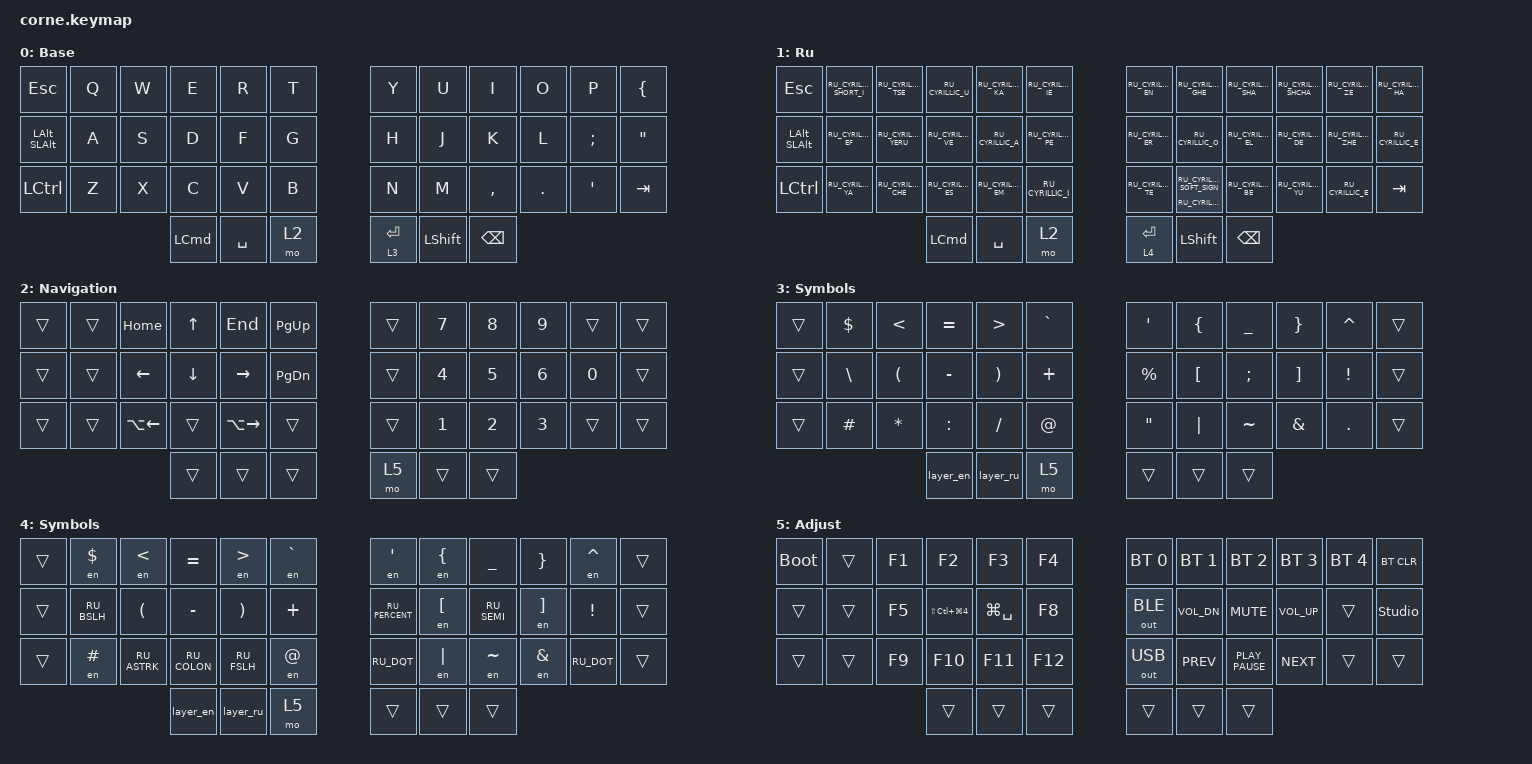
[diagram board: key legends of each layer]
#include "keys_ru.h"
#include <behaviors.dtsi>
#include <dt-bindings/zmk/bt.h>
#include <dt-bindings/zmk/keys.h>
#include <dt-bindings/zmk/outputs.h>

/ {
    combos {
        compatible = "zmk,combos";

        cmben {
            bindings = <&layer_en>;
            key-positions = <15 16>;
            layers = <1>;
        };

        cmbru {
            bindings = <&layer_ru>;
            key-positions = <15 16>;
            layers = <0>;
        };

        question_en {
            bindings = <&kp QUESTION>;
            key-positions = <6 7>;
            layers = <0>;
        };

        question_ru {
            bindings = <&kp RU_QUESTION>;
            key-positions = <6 7>;
            layers = <1>;
        };

        dot_en {
            bindings = <&kp DOT>;
            key-positions = <18 19>;
            layers = <0>;
        };

        DOT_RU {
            bindings = <&kp RU_DOT>;
            key-positions = <18 19>;
            layers = <1>;
        };

        comma_en {
            bindings = <&kp COMMA>;
            key-positions = <17 16>;
            layers = <0>;
        };

        comma_ru {
            bindings = <&kp RU_COMMA>;
            key-positions = <17 16>;
            layers = <1>;
        };
    };

    macros {
        to_ru: to_ru {
            compatible = "zmk,behavior-macro";
            #binding-cells = <0>;
            bindings = <&kp LA(LS(F12))>;
            label = "TO_RU";
            wait-ms = <0>;
            tap-ms = <30>;
        };

        to_en: to_en {
            compatible = "zmk,behavior-macro";
            #binding-cells = <0>;
            bindings = <&kp LA(LS(F11))>;
            label = "TO_EN";
            wait-ms = <0>;
            tap-ms = <30>;
        };

        layer_en: layer_en {
            compatible = "zmk,behavior-macro";
            #binding-cells = <0>;
            bindings = <&to 0 &to_en>;
            label = "LAYER_EN";
            wait-ms = <0>;
            tap-ms = <30>;
        };

        layer_ru: layer_ru {
            compatible = "zmk,behavior-macro";
            #binding-cells = <0>;
            bindings = <&to 1 &to_ru>;
            label = "LAYER_RU";
            tap-ms = <30>;
            wait-ms = <0>;
        };

        en: en {
            compatible = "zmk,behavior-macro-one-param";
            #binding-cells = <1>;
            bindings =
                <&to_en>,
                <&macro_press>,
                <&macro_param_1to1 &kp MACRO_PLACEHOLDER>,
                <&macro_pause_for_release>,
                <&macro_release>,
                <&macro_param_1to1 &kp MACRO_PLACEHOLDER>,
                <&macro_tap>,
                <&to_ru>;

            label = "EN";
            wait-ms = <0>;
            tap-ms = <30>;
        };

        soft_mt: soft_mod_tap {
            compatible = "zmk,behavior-hold-tap";
            #binding-cells = <2>;
            flavor = "tap-preferred";
            tapping-term-ms = <200>;
            bindings = <&kp>, <&kp>;
            display-name = "Soft MT";
        };
    };

    behaviors {
        LAlt_SLAlt: LAlt_SLAlt {
            compatible = "zmk,behavior-tap-dance";
            label = "LALT_SLALT";
            #binding-cells = <0>;
            bindings = <&kp LALT>, <&kp LS(LALT)>;
        };
    };

    keymap {
        compatible = "zmk,keymap";

        en {
            bindings = <
&kp ESC      &kp Q  &kp W  &kp E             &kp R      &kp T    &kp Y        &kp U       &kp I          &kp O    &kp P     &kp LEFT_BRACE
&LAlt_SLAlt  &kp A  &kp S  &kp D             &kp F      &kp G    &kp H        &kp J       &kp K          &kp L    &kp SEMI  &kp DQT
&kp LCTRL    &kp Z  &kp X  &kp C             &kp V      &kp B    &kp N        &kp M       &kp COMMA      &kp DOT  &kp SQT   &kp TAB
                           &kp LEFT_COMMAND  &kp SPACE  &mo 2    &lt 3 ENTER  &kp LSHIFT  &kp BACKSPACE
            >;

            display-name = "Base";
        };

        ru {
            display-name = "Ru";
            bindings = <
&kp ESC      &kp RU_CYRILLIC_SHORT_I  &kp RU_CYRILLIC_TSE   &kp RU_CYRILLIC_U   &kp RU_CYRILLIC_KA  &kp RU_CYRILLIC_IE    &kp RU_CYRILLIC_EN  &kp RU_CYRILLIC_GHE                                   &kp RU_CYRILLIC_SHA  &kp RU_CYRILLIC_SHCHA  &kp RU_CYRILLIC_ZE   &kp RU_CYRILLIC_HA
&LAlt_SLAlt  &kp RU_CYRILLIC_EF       &kp RU_CYRILLIC_YERU  &kp RU_CYRILLIC_VE  &kp RU_CYRILLIC_A   &kp RU_CYRILLIC_PE    &kp RU_CYRILLIC_ER  &kp RU_CYRILLIC_O                                     &kp RU_CYRILLIC_EL   &kp RU_CYRILLIC_DE     &kp RU_CYRILLIC_ZHE  &kp RU_CYRILLIC_E
&kp LCTRL    &kp RU_CYRILLIC_YA       &kp RU_CYRILLIC_CHE   &kp RU_CYRILLIC_ES  &kp RU_CYRILLIC_EM  &kp RU_CYRILLIC_I     &kp RU_CYRILLIC_TE  &soft_mt RU_CYRILLIC_HARD_SIGN RU_CYRILLIC_SOFT_SIGN  &kp RU_CYRILLIC_BE   &kp RU_CYRILLIC_YU     &kp RU_CYRILLIC_E    &kp TAB
                                                            &kp LEFT_COMMAND    &kp SPACE           &mo 2                 &lt 4 ENTER         &kp LSHIFT                                            &kp BACKSPACE
            >;
        };

        nav {
            bindings = <
&trans  &trans  &kp HOME      &kp UP    &kp END        &kp PG_UP    &trans  &kp N7  &kp N8  &kp N9  &trans  &trans
&trans  &trans  &kp LEFT      &kp DOWN  &kp RIGHT      &kp PG_DN    &trans  &kp N4  &kp N5  &kp N6  &kp N0  &trans
&trans  &trans  &kp LA(LEFT)  &trans    &kp LA(RIGHT)  &trans       &trans  &kp N1  &kp N2  &kp N3  &trans  &trans
                              &trans    &trans         &trans       &mo 5   &trans  &trans
            >;

            display-name = "Navigation";
        };

        sym_en {
            bindings = <
&trans  &kp DOLLAR  &kp LT    &kp EQUAL  &kp GT     &kp GRAVE    &kp SQT    &kp LBRC  &kp UNDER  &kp RBRC  &kp CARET  &trans
&trans  &kp BSLH    &kp LPAR  &kp MINUS  &kp RPAR   &kp PLUS     &kp PRCNT  &kp LBKT  &kp SEMI   &kp RBKT  &kp EXCL   &trans
&trans  &kp HASH    &kp STAR  &kp COLON  &kp FSLH   &kp AT       &kp DQT    &kp PIPE  &kp TILDE  &kp AMPS  &kp DOT    &trans
                              &layer_en  &layer_ru  &mo 5        &trans     &trans    &trans
            >;

            display-name = "Symbols";
        };

        sym_ru {
            display-name = "Symbols";
            bindings = <
&trans  &en DOLLAR   &en LT        &kp EQUAL     &en GT       &en GRAVE      &en SQT         &en LBRC  &kp UNDER    &kp RBRC  &en CARET   &trans
&trans  &kp RU_BSLH  &kp LPAR      &kp MINUS     &kp RPAR     &kp PLUS       &kp RU_PERCENT  &en LBKT  &kp RU_SEMI  &en RBKT  &kp EXCL    &trans
&trans  &en HASH     &kp RU_ASTRK  &kp RU_COLON  &kp RU_FSLH  &en AT_SIGN    &kp RU_DQT      &en PIPE  &en TILDE    &en AMPS  &kp RU_DOT  &trans
                                   &layer_en     &layer_ru    &mo 5          &trans          &trans    &trans
            >;
        };

        adj {
            bindings = <
&bootloader  &trans  &kp F1  &kp F2                    &kp F3         &kp F4     &bt BT_SEL 0  &bt BT_SEL 1  &bt BT_SEL 2      &bt BT_SEL 3  &bt BT_SEL 4  &bt BT_CLR
&trans       &trans  &kp F5  &kp LS(LC(LG(NUMBER_4)))  &kp LG(SPACE)  &kp F8     &out OUT_BLE  &kp C_VOL_DN  &kp K_MUTE        &kp C_VOL_UP  &trans        &studio_unlock
&trans       &trans  &kp F9  &kp F10                   &kp F11        &kp F12    &out OUT_USB  &kp K_PREV    &kp K_PLAY_PAUSE  &kp K_NEXT    &trans        &trans
                             &trans                    &trans         &trans     &trans        &trans        &trans
            >;

            display-name = "Adjust";
        };
    };
};
